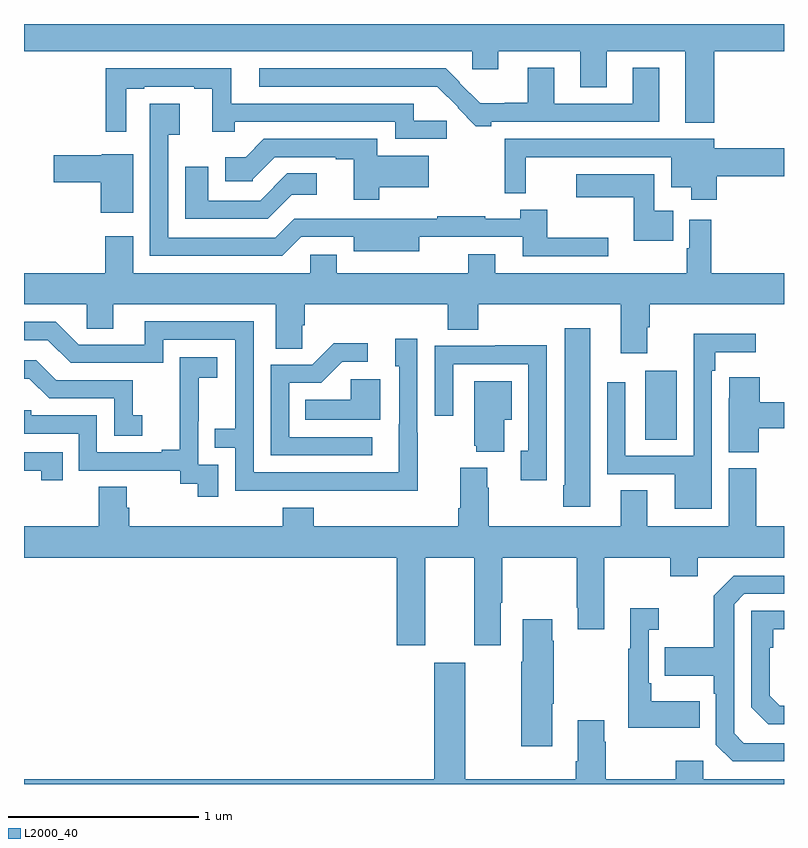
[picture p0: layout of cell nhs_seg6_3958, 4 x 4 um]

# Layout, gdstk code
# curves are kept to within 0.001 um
import gdstk
lib = gdstk.Library(unit=1e-6, precision=1e-09)
def R(c, l, rs):  # rectangles x0, y0, x1, y1
    for r in rs: c.add(gdstk.rectangle(r[:2], r[2:], *l))
def P(c, l, *ps):  # polygons
    for p in ps: c.add(gdstk.Polygon(p, *l))
L2000_40 = (2000, 40)

nhs_seg6_3958 = lib.new_cell('nhs_seg6_3958')
R(nhs_seg6_3958, L2000_40, [(348.269,925.312,348.436,925.675)])
P(nhs_seg6_3958, L2000_40, [(348.632,927.356),(349,927.356),(349,927.5),(345,927.5),(345,927.356),(347.358,927.356),(347.358,927.261),(347.497,927.261),(347.497,927.356),(347.927,927.356),(347.927,927.166),(348.067,927.166),(348.067,927.356),(348.479,927.356),(348.479,926.981),(348.632,926.981)],
  [(347.458,926.985),(348.343,926.985),(348.343,927.271),(348.203,927.271),(348.203,927.081),(347.791,927.081),(347.791,927.271),(347.651,927.271),(347.651,927.086),(347.531,927.086),(347.531,927.082),(347.402,927.082),(347.292,927.192),(347.294,927.194),(347.221,927.267),(346.239,927.267),(346.239,927.171),(347.176,927.17),(347.285,927.062),(347.282,927.059),(347.377,926.963),(347.458,926.963)],
  [(347.224,926.991),(347.05,926.991),(347.05,927.081),(346.09,927.081),(346.09,927.267),(345.429,927.267),(345.429,926.934),(345.537,926.934),(345.537,927.159),(345.634,927.159),(345.634,927.171),(345.896,927.171),(345.896,927.159),(345.992,927.159),(345.992,926.934),(346.109,926.934),(346.109,926.985),(346.953,926.985),(346.953,926.895),(347.224,926.895)],
  [(348.076,926.375),(347.754,926.375),(347.754,926.523),(347.612,926.523),(347.612,926.476),(347.428,926.476),(347.428,926.488),(347.176,926.488),(347.176,926.476),(346.422,926.475),(346.323,926.376),(345.759,926.376),(345.759,926.918),(345.82,926.918),(345.82,927.079),(345.663,927.079),(345.663,926.28),(346.359,926.28),(346.458,926.379),(346.736,926.379),(346.736,926.303),(347.08,926.303),(347.08,926.379),(347.624,926.379),(347.624,926.277),(348.076,926.277)],
  [(346.871,926.642),(347.131,926.642),(347.131,926.806),(346.858,926.806),(346.858,926.895),(346.262,926.895),(346.166,926.799),(346.059,926.799),(346.059,926.673),(346.203,926.673),(346.203,926.682),(346.32,926.799),(346.64,926.799),(346.64,926.787),(346.736,926.787),(346.736,926.574),(346.871,926.574)],
  [(348.647,926.699),(349,926.699),(349,926.846),(348.634,926.846),(348.634,926.895),(347.529,926.895),(347.529,926.608),(347.642,926.608),(347.642,926.799),(348.407,926.799),(348.407,926.642),(348.512,926.642),(348.512,926.574),(348.647,926.574)],
  [(345.574,926.815),(345.408,926.815),(345.408,926.81),(345.156,926.81),(345.156,926.668),(345.404,926.668),(345.404,926.507),(345.574,926.507)],
  [(346.408,926.601),(346.54,926.601),(346.54,926.714),(346.386,926.714),(346.243,926.571),(345.97,926.571),(345.97,926.749),(345.848,926.749),(345.848,926.475),(346.282,926.475)],
  [(348.416,926.518),(348.318,926.518),(348.318,926.71),(347.907,926.71),(347.907,926.588),(348.21,926.588),(348.21,926.36),(348.416,926.36)],
  [(348.28,925.904),(348.293,925.904),(348.293,926.024),(349,926.024),(349,926.188),(348.617,926.188),(348.617,926.47),(348.501,926.47),(348.501,926.321),(348.489,926.321),(348.489,926.188),(347.479,926.188),(347.479,926.287),(347.339,926.287),(347.339,926.188),(346.645,926.188),(346.645,926.286),(346.506,926.286),(346.506,926.188),(345.574,926.188),(345.574,926.383),(345.427,926.383),(345.427,926.188),(345,926.188),(345,926.024),(345.33,926.024),(345.33,925.897),(345.469,925.897),(345.469,926.024),(346.325,926.024),(346.325,925.792),(346.464,925.792),(346.464,925.915),(346.478,925.915),(346.478,926.024),(347.231,926.024),(347.231,925.891),(347.391,925.891),(347.391,926.024),(348.14,926.024),(348.14,925.767),(348.28,925.767)],
  [(347.073,925.349),(347.07,925.349),(347.07,925.843),(346.955,925.843),(346.955,925.698),(346.974,925.698),(346.973,925.14),(346.209,925.14),(346.209,925.935),(345.635,925.935),(345.635,925.812),(345.288,925.812),(345.168,925.932),(345,925.932),(345,925.836),(345.126,925.836),(345.246,925.716),(345.732,925.716),(345.732,925.839),(346.113,925.839),(346.113,925.37),(346.003,925.37),(346.003,925.269),(346.113,925.269),(346.113,925.044),(347.073,925.043)],
  [(347.98,925.9),(347.846,925.9),(347.846,925.072),(347.839,925.072),(347.839,924.96),(347.98,924.96)],
  [(348.621,925.676),(348.637,925.676),(348.637,925.772),(348.85,925.772),(348.85,925.87),(348.525,925.87),(348.525,925.227),(348.165,925.227),(348.165,925.615),(348.069,925.615),(348.069,925.131),(348.425,925.131),(348.425,924.95),(348.621,924.95)],
  [(346.834,925.326),(346.395,925.326),(346.395,925.611),(346.564,925.611),(346.675,925.722),(346.81,925.722),(346.81,925.82),(346.631,925.82),(346.518,925.707),(346.299,925.707),(346.299,925.23),(346.834,925.23)],
  [(347.751,925.808),(347.479,925.808),(347.479,925.806),(347.163,925.806),(347.163,925.437),(347.259,925.437),(347.259,925.71),(347.655,925.71),(347.655,925.254),(347.615,925.254),(347.615,925.098),(347.751,925.098)],
  [(346.023,925.179),(345.918,925.179),(345.918,925.409),(345.92,925.409),(345.92,925.637),(346.018,925.637),(346.018,925.747),(345.82,925.747),(345.82,925.541),(345.821,925.541),(345.821,925.258),(345.725,925.258),(345.725,925.245),(345.384,925.245),(345.384,925.44),(345.039,925.44),(345.039,925.467),(345,925.467),(345,925.344),(345.288,925.344),(345.288,925.149),(345.822,925.149),(345.822,925.081),(345.915,925.081),(345.915,925.011),(346.023,925.011)],
  [(345.622,925.441),(345.573,925.441),(345.573,925.626),(345.169,925.626),(345.064,925.731),(345,925.731),(345,925.634),(345.028,925.634),(345.132,925.53),(345.474,925.53),(345.474,925.332),(345.622,925.332)],
  [(348.867,925.372),(349,925.372),(349,925.508),(348.872,925.508),(348.872,925.642),(348.711,925.642),(348.711,925.529),(348.71,925.529),(348.71,925.246),(348.867,925.246)],
  [(346.876,925.63),(346.719,925.63),(346.719,925.522),(346.48,925.522),(346.48,925.418),(346.876,925.418)],
  [(347.527,925.418),(347.566,925.418),(347.566,925.621),(347.369,925.621),(347.369,925.281),(347.381,925.281),(347.381,925.25),(347.527,925.25)],
  [(345.203,925.245),(345,925.245),(345,925.149),(345.092,925.149),(345.092,925.098),(345.203,925.098)],
  [(347.113,924.692),(347.369,924.692),(347.369,924.231),(347.509,924.231),(347.509,924.454),(347.517,924.454),(347.517,924.692),(347.908,924.692),(347.908,924.427),(347.915,924.427),(347.915,924.315),(348.055,924.315),(348.055,924.692),(348.4,924.692),(348.4,924.593),(348.547,924.593),(348.547,924.692),(349,924.692),(349,924.856),(348.854,924.856),(348.854,925.161),(348.71,925.161),(348.71,924.856),(348.28,924.856),(348.28,925.046),(348.14,925.046),(348.14,924.856),(347.445,924.856),(347.445,925.058),(347.437,925.058),(347.437,925.165),(347.297,925.165),(347.297,924.952),(347.285,924.952),(347.285,924.856),(346.526,924.856),(346.526,924.955),(346.361,924.955),(346.361,924.856),(345.554,924.856),(345.554,924.954),(345.541,924.954),(345.541,925.064),(345.394,925.064),(345.394,924.856),(345,924.856),(345,924.692),(346.961,924.692),(346.961,924.231),(347.113,924.231)],
  [(349,923.715),(348.789,923.715),(348.738,923.766),(348.738,924.447),(348.792,924.501),(349,924.501),(349,924.597),(348.735,924.597),(348.63,924.491),(348.63,924.219),(348.373,924.219),(348.373,924.071),(348.63,924.071),(348.63,923.975),(348.642,923.975),(348.642,923.706),(348.729,923.619),(349,923.619)],
  [(348.557,923.935),(348.301,923.935),(348.301,924.031),(348.288,924.031),(348.288,924.311),(348.34,924.311),(348.34,924.424),(348.191,924.424),(348.191,924.211),(348.18,924.211),(348.18,923.795),(348.557,923.795)],
  [(349,923.911),(348.977,923.911),(348.924,923.964),(348.924,924.218),(348.944,924.218),(348.944,924.315),(349,924.315),(349,924.411),(348.828,924.411),(348.828,923.904),(348.918,923.814),(349,923.814)],
  [(347.779,923.923),(347.787,923.923),(347.787,924.254),(347.779,924.254),(347.779,924.367),(347.624,924.367),(347.624,924.143),(347.617,924.143),(347.617,923.7),(347.779,923.7)],
  [(349,923.524),(348.576,923.524),(348.576,923.623),(348.43,923.623),(348.43,923.524),(348.063,923.524),(348.063,923.723),(348.055,923.723),(348.055,923.836),(347.915,923.836),(347.915,923.62),(347.903,923.62),(347.903,923.524),(347.323,923.524),(347.323,924.139),(347.159,924.139),(347.159,923.524),(345,923.524),(345,923.5),(349,923.5)])

lib.write_gds('nhs_seg6_3958.gds')
